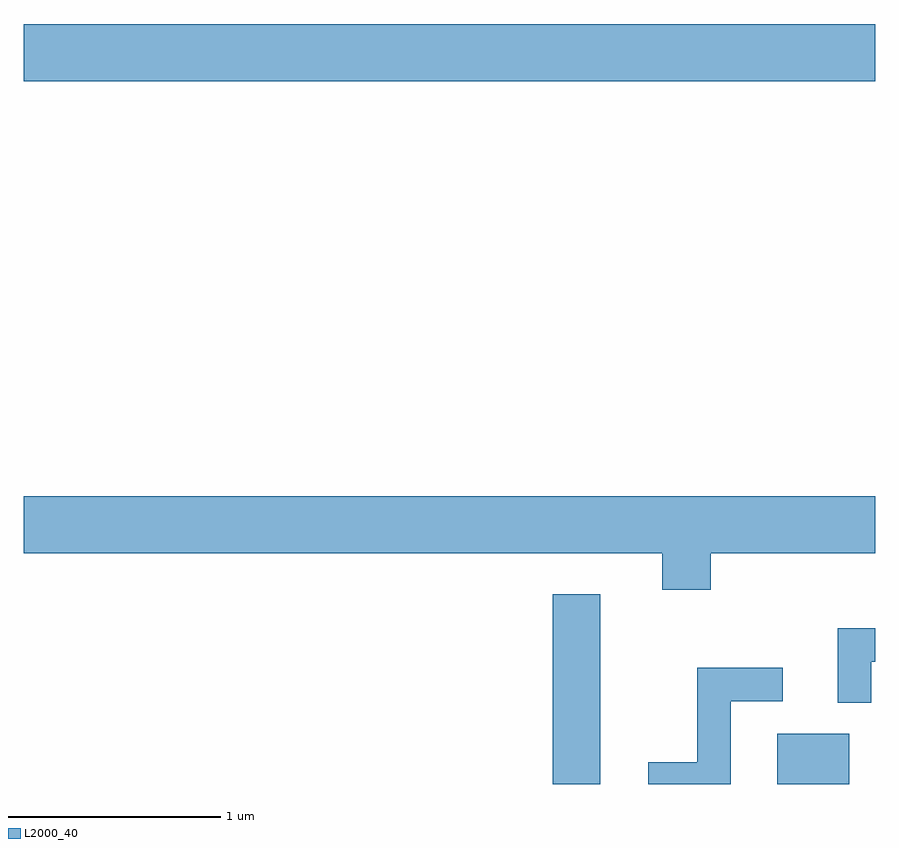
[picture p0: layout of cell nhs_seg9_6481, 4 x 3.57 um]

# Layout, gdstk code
import gdstk
lib = gdstk.Library(unit=1e-6, precision=1e-09)
def R(c, l, rs):  # rectangles x0, y0, x1, y1
    for r in rs: c.add(gdstk.rectangle(r[:2], r[2:], *l))
def P(c, l, *ps):  # polygons
    for p in ps: c.add(gdstk.Polygon(p, *l))
L2000_40 = (2000, 40)

nhs_seg9_6481 = lib.new_cell('nhs_seg9_6481')
R(nhs_seg9_6481, L2000_40, [(378.096,2068.432,378.319,2069.324), (379.151,2068.432,379.489,2068.669), (375.611,2071.736,379.611,2072.004)])
P(nhs_seg9_6481, L2000_40, [(378.839,2069.516),(379.611,2069.516),(379.611,2069.784),(375.611,2069.784),(375.611,2069.516),(378.611,2069.516),(378.611,2069.346),(378.839,2069.346)],
  [(379.594,2069.006),(379.611,2069.006),(379.611,2069.164),(379.436,2069.164),(379.436,2068.813),(379.594,2068.813)],
  [(378.934,2068.821),(379.178,2068.821),(379.178,2068.979),(378.776,2068.979),(378.776,2068.534),(378.546,2068.534),(378.546,2068.432),(378.934,2068.432)])

lib.write_gds('nhs_seg9_6481.gds')
